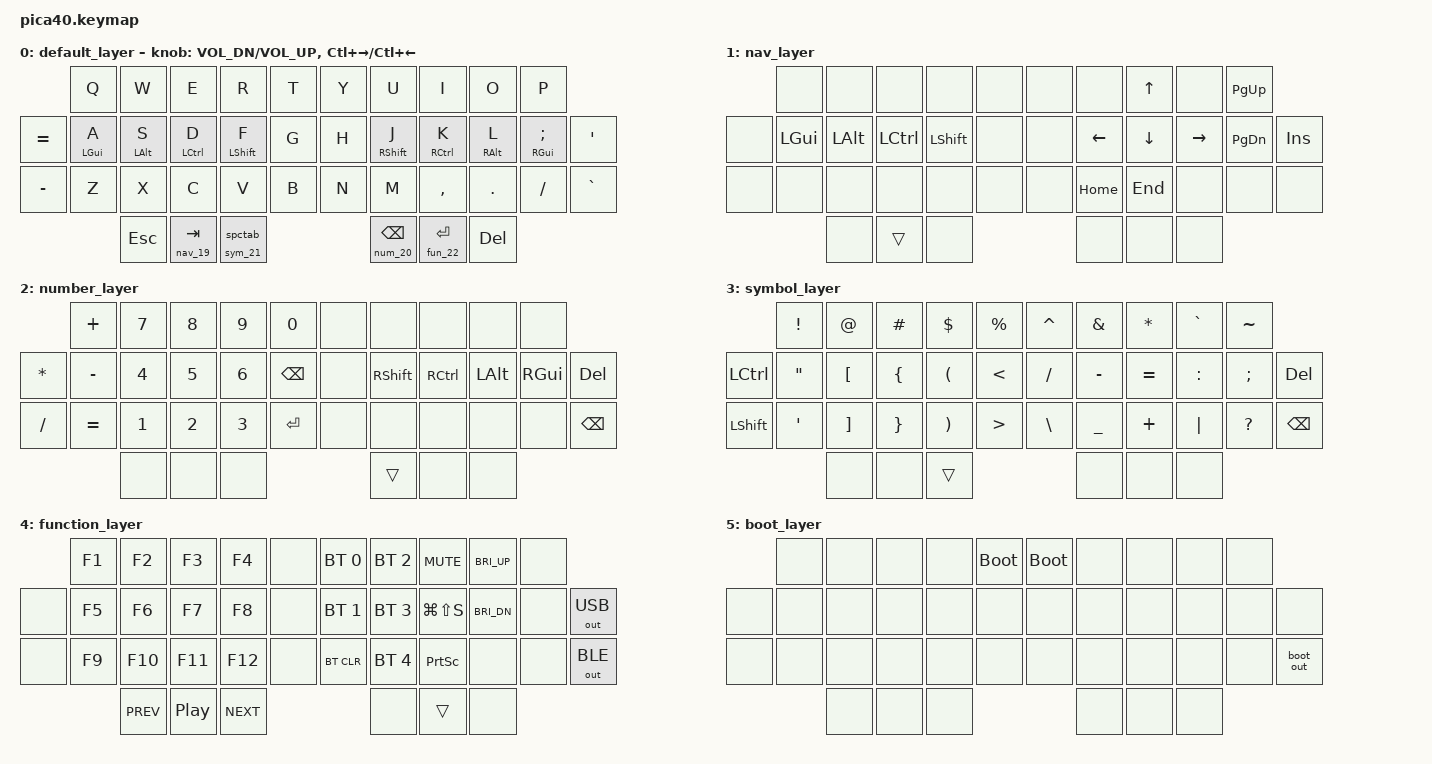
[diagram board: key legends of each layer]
#include <behaviors.dtsi>
#include <dt-bindings/zmk/keys.h>
#include <dt-bindings/zmk/bt.h>
#include <dt-bindings/zmk/outputs.h>

#define QWERTY 0        //LS(F18)
#define NAV 1           //LS(F19)
#define NUM 2           //LS(F20)
#define SYM 3           //LS(F21)
#define FUNC 4          //LS(F22)
#define BOOT 5          //LS(F23)

&lt {
    tapping-term-ms = <220>;
    quick-tap-ms = <150>;
};

/ {

    behaviors {
        ht: hold_tap {
            label = "hold_tap";
            compatible = "zmk,behavior-hold-tap";
            #binding-cells = <2>;
            flavor = "tap-preferred";
            tapping-term-ms = <220>;
            quick-tap-ms = <150>;
            global-quick-tap;
            bindings = <&kp>, <&kp>;
        };

        // layer holds
        lh_NAV: layer_hold_nav {
            compatible = "zmk,behavior-hold-tap";
            label = "LAYER_HOLD_NAV";
            #binding-cells = <2>;
            tapping-term-ms = <220>;
            quick-tap-ms = <150>;
            flavor = "tap-preferred";
            bindings = <&nav_19>, <&kp>;
        };

        lh_NUM: layer_hold_num {
            compatible = "zmk,behavior-hold-tap";
            label = "LAYER_HOLD_NUM";
            #binding-cells = <2>;
            tapping-term-ms = <220>;
            quick-tap-ms = <150>;
            flavor = "tap-preferred";
            bindings = <&num_20>, <&kp>;
        };

        lh_FUNC: layer_hold_func {
            compatible = "zmk,behavior-hold-tap";
            label = "LAYER_HOLD_FUNC";
            #binding-cells = <2>;
            tapping-term-ms = <220>;
            quick-tap-ms = <150>;
            flavor = "tap-preferred";
            bindings = <&fun_22>, <&kp>;
        };

        // Easy alt-tab with alt+space thumb using mod-morphs

        spctab: space_tab {
            compatible = "zmk,behavior-mod-morph";
            label = "SPACE_TAB";
            #binding-cells = <0>;
            bindings = <&kp SPACE>, <&kp TAB>;
            mods = <MOD_LALT>;
            keep-mods = <(MOD_LALT)>;
        };
        lt_spc: layer_tap_space_tab {
            compatible = "zmk,behavior-hold-tap";
            label = "LT_ST";
            #binding-cells = <2>;
            tapping-term-ms = <150>;
            flavor = "balanced";
            bindings = <&sym_21>, <&spctab>;
        };
    };

    // layer macros
    macros {
        nav_19: nav_19 {
            compatible = "zmk,behavior-macro";
            #binding-cells = <0>;
            bindings
                = <&macro_tap &kp LS(F19)>
                , <&macro_press &mo NAV>
                , <&macro_pause_for_release>
                , <&macro_release &mo NAV>
                , <&macro_tap &kp LS(F18)>;
        };

        num_20: num_20 {
            compatible = "zmk,behavior-macro";
            #binding-cells = <0>;
            bindings
                = <&macro_tap &kp LS(F20)>
                , <&macro_press &mo NUM>
                , <&macro_pause_for_release>
                , <&macro_release &mo NUM>
                , <&macro_tap &kp LS(F18)>;
        };

        sym_21: sym_21 {
            compatible = "zmk,behavior-macro";
            #binding-cells = <0>;
            bindings
                = <&macro_tap &kp LS(F21)>
                , <&macro_press &mo SYM>
                , <&macro_pause_for_release>
                , <&macro_release &mo SYM>
                , <&macro_tap &kp LS(F18)>;
        };

        fun_22: fun_22 {
            compatible = "zmk,behavior-macro";
            #binding-cells = <0>;
            bindings
                = <&macro_tap &kp LS(F22)>
                , <&macro_press &mo FUNC>
                , <&macro_pause_for_release>
                , <&macro_release &mo FUNC>
                , <&macro_tap &kp LS(F18)>;
        };

        boot_in: boot_in {
            compatible = "zmk,behavior-macro";
            #binding-cells = <0>;
            bindings
                = <&macro_tap &tog BOOT &kp LS(F23)>;
        };

        boot_out: boot_out {
            compatible = "zmk,behavior-macro";
            #binding-cells = <0>;
            bindings
                = <&macro_tap &tog BOOT &kp LS(F18)>;
        };
    };

    // caps
    combos {
        compatible = "zmk,combos";

        combo_caps {
            timeout-ms = <50>;
            key-positions = <10 22>;
            layers = <QWERTY>;
            bindings = <&kp CAPS>;
        };

        combo_boot {
            timeout-ms = <50>;
            key-positions = <10 21 34 39>;
            layers = <QWERTY>;
            bindings = <&boot_in>;
        };


        combo_help_QWERTY {
            bindings = <&kp LC(LA(LS(F18)))>;
            key-positions = <14 17>;
            slow-release;
            layers = <QWERTY>;
        };

        combo_help_NAV {
            bindings = <&kp LC(LA(LS(F19)))>;
            key-positions = <14 17>;
            slow-release;
            layers = <NAV>;
        };

        combo_help_NUM {
            bindings = <&kp LC(LA(LS(F20)))>;
            key-positions = <14 17>;
            slow-release;
            layers = <NUM>;
        };

        combo_help_SYM {
            bindings = <&kp LC(LA(LS(F21)))>;
            key-positions = <14 17>;
            slow-release;
            layers = <SYM>;
        };

        combo_help_FUNC {
            bindings = <&kp LC(LA(LS(F22)))>;
            key-positions = <14 17>;
            slow-release;
            layers = <FUNC>;
        };

    };

    keymap {
        compatible = "zmk,keymap";

        default_layer {
            bindings = <
                           &kp Q       &kp W       &kp E        &kp R        &kp T        &kp Y  &kp U        &kp I        &kp O       &kp P
                &kp EQUAL  &ht LGUI A  &ht LALT S  &ht LCTRL D  &ht LSHFT F  &kp G        &kp H  &ht RSHFT J  &ht RCTRL K  &ht RALT L  &ht RGUI SEMI  &kp SQT
                &kp MINUS  &kp Z       &kp X       &kp C        &kp V        &kp B        &kp N  &kp M        &kp COMMA    &kp DOT     &kp FSLH       &kp GRAVE
                                            &kp ESC  &lh_NAV 0 TAB  &lt_spc 0 0    &lh_NUM 0 BSPC  &lh_FUNC 0 ENTER  &kp DEL
                >;

            sensor-bindings = <&inc_dec_kp C_VOL_DN C_VOL_UP &inc_dec_kp LC(RIGHT) LC(LEFT)>;
        };

        nav_layer {
            bindings = <
                       &none     &none     &none      &none      &none        &none    &none     &kp UP     &none      &kp PG_UP
                &none  &kp LGUI  &kp LALT  &kp LCTRL  &kp LSHFT  &none        &none    &kp LEFT  &kp DOWN   &kp RIGHT  &kp PG_DN  &kp INS
                &none  &none     &none     &none      &none      &none        &none    &kp HOME  &kp END    &none      &none      &none
                                                     &none  &trans  &none    &none  &none  &none
                >;
        };

        number_layer {
            bindings = <
                          &kp PLUS   &kp N7  &kp N8  &kp N9  &kp N0         &none  &none      &none      &none     &none
                &kp STAR  &kp MINUS  &kp N4  &kp N5  &kp N6  &kp BSPC       &none  &kp RSHFT  &kp RCTRL  &kp LALT  &kp RGUI  &kp DEL
                &kp FSLH  &kp EQUAL  &kp N1  &kp N2  &kp N3  &kp ENTER      &none  &none      &none      &none     &none     &kp BSPC
                                             &none   &none  &none           &trans &none      &none
                >;
        };

        symbol_layer {
            bindings = <
                           &kp EXCL  &kp AT    &kp HASH   &kp DLLR   &kp PRCNT       &kp CARET  &kp AMPS   &kp STAR   &kp GRAVE  &kp TILDE
                &kp LCTRL  &kp DQT   &kp LBKT  &kp LBRC   &kp LPAR   &kp LT          &kp FSLH   &kp MINUS  &kp EQUAL  &kp COLON  &kp SEMI   &kp DEL
                &kp LSHFT  &kp SQT   &kp RBKT  &kp RBRC   &kp RPAR   &kp GT          &kp BSLH   &kp UNDER  &kp PLUS   &kp PIPE   &kp QMARK  &kp BSPC
                                                   &none  &none  &trans    &none  &none  &none
                >;
        };

        function_layer {
            bindings = <
                        &kp F1  &kp F2   &kp F3   &kp F4   &none           &bt BT_SEL 0  &bt BT_SEL 2  &kp C_MUTE     &kp C_BRI_UP    &none
                &none   &kp F5  &kp F6   &kp F7   &kp F8   &none           &bt BT_SEL 1  &bt BT_SEL 3  &kp LG(LS(S))  &kp C_BRI_DN    &none  &out OUT_USB
                &none   &kp F9  &kp F10  &kp F11  &kp F12  &none           &bt BT_CLR    &bt BT_SEL 4  &kp PSCRN      &none           &none  &out OUT_BLE  
                                         &kp C_PREV  &kp C_PP &kp C_NEXT   &none  &trans  &none
                >;
        };
        
        boot_layer {
            bindings = <
                       &none  &none  &none  &none  &bootloader     &bootloader  &none  &none  &none  &none 
                &none  &none  &none  &none  &none  &none           &none        &none  &none  &none  &none  &none
                &none  &none  &none  &none  &none  &none           &none        &none  &none  &none  &none  &boot_out
                                     &none  &none  &none           &none        &none  &none
                >;
        };

    };
};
